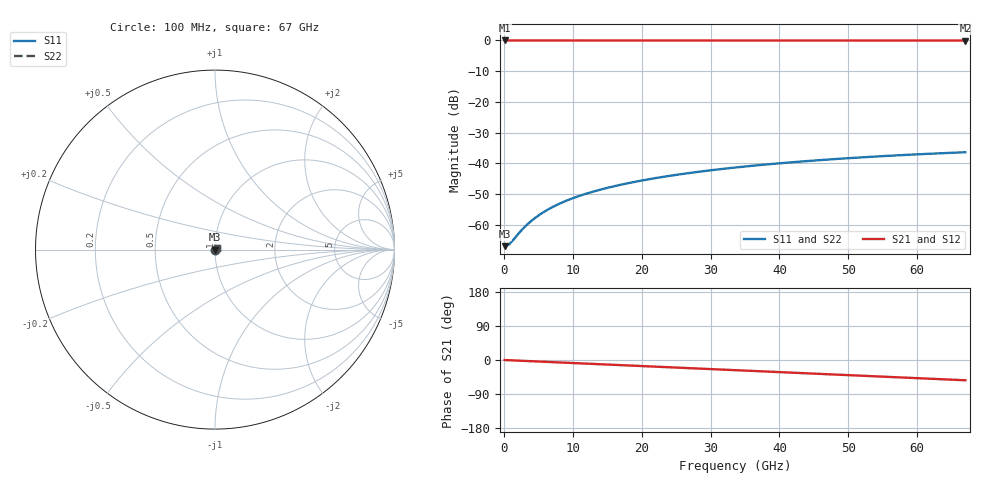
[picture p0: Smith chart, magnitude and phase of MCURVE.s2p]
! Created with skrf (http://scikit-rf.org).
# Hz S RI R 50.0
!freq ReS11 ImS11 ReS21 ImS21 ReS12 ImS12 ReS22 ImS22
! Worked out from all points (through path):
!   100 points, 100 MHz to 67 GHz, reference 50 ohm
!   highest |S21| = 0.00 dB at 100 MHz (marker M1); lowest = 0.0 dB at 67 GHz (marker M2)
!   group delay of S21, straight-line fit = 2.22 ps
!   lowest |S11| = -67.0 dB at 100 MHz (marker M3), VSWR 1.00, Z = 50 + j0.00257 ohm
!   |S11| at or under -10 dB: start of sweep to end of sweep
!   |S22| runs from -67.0 to -36.4 dB; largest |S21 - S12| = 6e-14
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1e8  0.000446 2.56e-05  0.9995 -0.00139  0.9995 -0.00139  0.000446 2.56e-05
7.757576e8  0.000436 0.000199  0.9995 -0.0108  0.9995 -0.0108  0.000436 0.000199
2.127273e9  0.000469 0.000545  0.999 -0.0296  0.999 -0.0296  0.000469 0.000545
2.80303e9  0.000494 0.000717  0.9987 -0.039  0.9987 -0.039  0.000494 0.000717
3.478788e9  0.000523 0.000889  0.9982 -0.0485  0.9982 -0.0485  0.000523 0.000889
4.154545e9  0.000556 0.00106  0.9977 -0.0579  0.9977 -0.0579  0.000556 0.00106
5.506061e9  0.000635 0.0014  0.9963 -0.0766  0.9963 -0.0766  0.000635 0.0014
6.857576e9  0.000737 0.00174  0.9946 -0.0954  0.9946 -0.0954  0.000737 0.00174
8.209091e9  0.000851 0.00207  0.9925 -0.1141  0.9925 -0.1141  0.000851 0.00207
9.560606e9  0.000977 0.00239  0.9901 -0.1328  0.9901 -0.1328  0.000977 0.00239
1.158788e10  0.00115 0.00288  0.9859 -0.1607  0.9859 -0.1607  0.00115 0.00288
1.361515e10  0.00135 0.00336  0.9808 -0.1885  0.9808 -0.1885  0.00135 0.00336
1.631818e10  0.00164 0.00398  0.9729 -0.2252  0.9729 -0.2252  0.00164 0.00398
1.902121e10  0.00199 0.00457  0.9636 -0.2617  0.9636 -0.2617  0.00199 0.00457
2.24e10  0.00248 0.00527  0.9501 -0.3067  0.9501 -0.3067  0.00248 0.00527
2.780606e10  0.0034 0.00629  0.924 -0.3773  0.924 -0.3773  0.0034 0.00629
3.388788e10  0.00461 0.00725  0.8885 -0.4541  0.8885 -0.4541  0.00461 0.00725
3.929394e10  0.00581 0.00793  0.8516 -0.5196  0.8516 -0.5196  0.00581 0.00793
4.47e10  0.00709 0.00841  0.8098 -0.582  0.8098 -0.582  0.00709 0.00841
5.010606e10  0.00844 0.00869  0.7635 -0.6412  0.7635 -0.6412  0.00844 0.00869
5.618788e10  0.00998 0.00877  0.7063 -0.7033  0.7063 -0.7033  0.00998 0.00877
6.7e10  0.0127 0.00825  0.5923 -0.801  0.5923 -0.801  0.0127 0.00825
